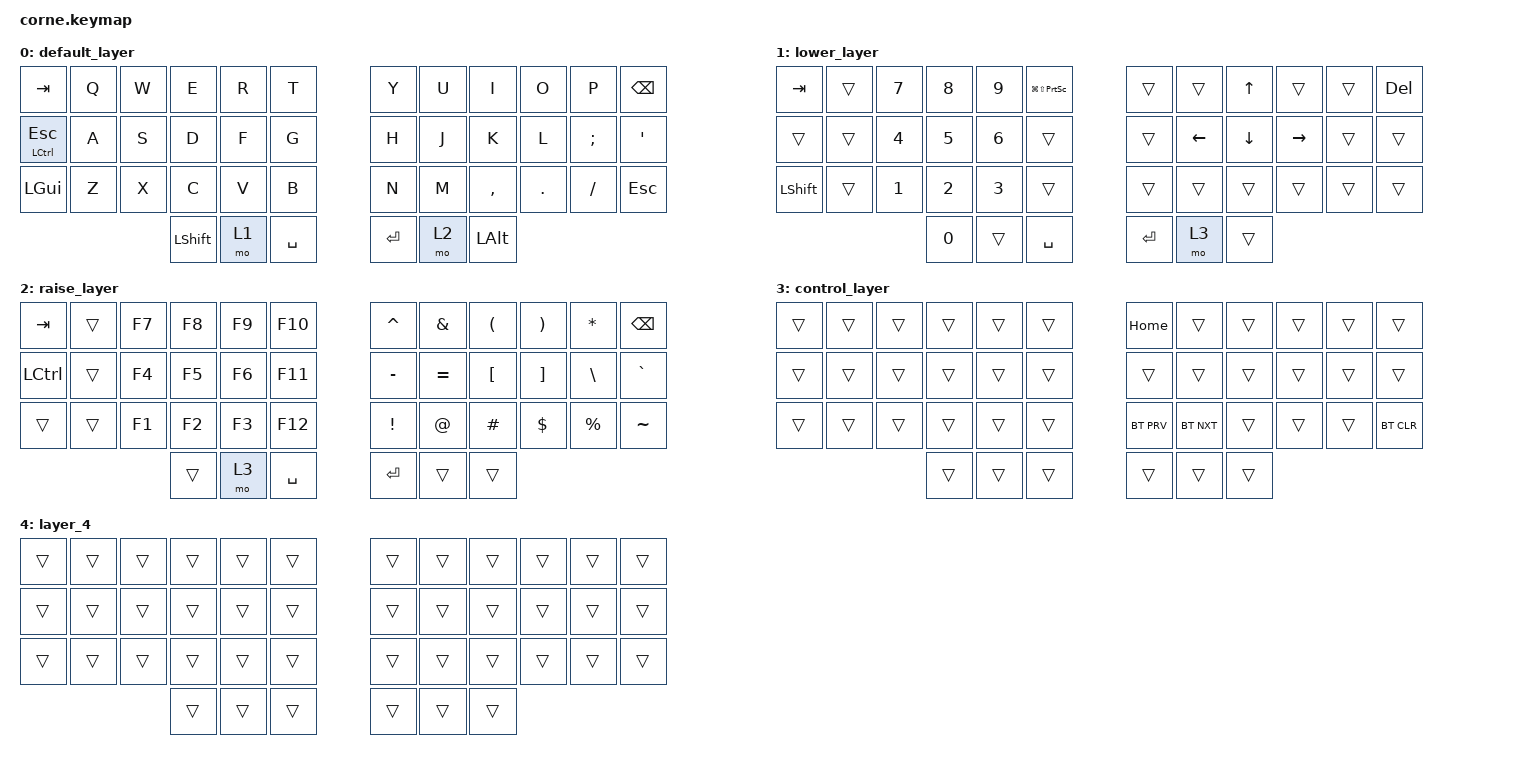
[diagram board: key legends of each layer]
/*
 * Copyright (c) 2020 The ZMK Contributors
 *
 * SPDX-License-Identifier: MIT
 */

#include <behaviors.dtsi>
#include <dt-bindings/zmk/bt.h>
#include <dt-bindings/zmk/keys.h>

/ {
    keymap {
        compatible = "zmk,keymap";

        default_layer {
            // -----------------------------------------------------------------------------------------
            // |  TAB |  Q  |  W  |  E  |  R  |  T  |   |  Y  |  U   |  I  |  O  |  P  | BKSP |
            // | CTRL |  A  |  S  |  D  |  F  |  G  |   |  H  |  J   |  K  |  L  |  ;  |  '   |
            // | SHFT |  Z  |  X  |  C  |  V  |  B  |   |  N  |  M   |  ,  |  .  |  /  | ESC  |
            //                    | GUI | LWR | SPC |   | ENT | RSE  | ALT |

            bindings = <
&kp TAB           &kp Q  &kp W  &kp E      &kp R  &kp T        &kp Y    &kp U  &kp I         &kp O    &kp P          &kp BSPC
&mt LCTRL ESCAPE  &kp A  &kp S  &kp D      &kp F  &kp G        &kp H    &kp J  &kp K         &kp L    &kp SEMICOLON  &kp SQT
&kp LEFT_GUI      &kp Z  &kp X  &kp C      &kp V  &kp B        &kp N    &kp M  &kp COMMA     &kp DOT  &kp FSLH       &kp ESCAPE
                                &kp LSHFT  &mo 1  &kp SPACE    &kp RET  &mo 2  &kp LEFT_ALT
            >;
        };

        lower_layer {
            // -----------------------------------------------------------------------------------------
            // |  TAB |  1  |  2  |  3  |  4  |  5  |   |  6  |  7  |  8  |  9  |  0  | BKSP |
            // | BTCLR| BT1 | BT2 | BT3 | BT4 | BT5 |   | LFT | DWN |  UP | RGT |     |      |
            // | SHFT |     |     |     |     |     |   |     |     |     |     |     |      |
            //                    | GUI |     | SPC |   | ENT |     | ALT |

            bindings = <
&kp TAB    &trans  &kp N7        &kp N8        &kp N9        &kp LG(LS(PRINTSCREEN))    &trans   &trans    &kp UP    &trans     &trans  &kp DELETE
&trans     &trans  &kp NUMBER_4  &kp N5        &kp NUMBER_6  &trans                     &trans   &kp LEFT  &kp DOWN  &kp RIGHT  &trans  &trans
&kp LSHFT  &trans  &kp NUMBER_1  &kp NUMBER_2  &kp NUMBER_3  &trans                     &trans   &trans    &trans    &trans     &trans  &trans
                                 &kp N0        &trans        &kp SPACE                  &kp RET  &mo 3     &trans
            >;
        };

        raise_layer {
            // -----------------------------------------------------------------------------------------
            // |  TAB |  !  |  @  |  #  |  $  |  %  |   |  ^  |  &  |  *  |  (  |  )  | BKSP |
            // | CTRL |     |     |     |     |     |   |  -  |  =  |  [  |  ]  |  \  |  `   |
            // | SHFT |     |     |     |     |     |   |  _  |  +  |  {  |  }  | "|" |  ~   |
            //                    | GUI |     | SPC |   | ENT |     | ALT |

            bindings = <
&kp TAB    &trans  &kp F7  &kp F8  &kp F9  &kp F10      &kp CARET        &kp AMPS     &kp LEFT_PARENTHESIS  &kp RIGHT_PARENTHESIS  &kp ASTERISK  &kp BSPC
&kp LCTRL  &trans  &kp F4  &kp F5  &kp F6  &kp F11      &kp MINUS        &kp EQUAL    &kp LBKT              &kp RBKT               &kp BSLH      &kp GRAVE
&trans     &trans  &kp F1  &kp F2  &kp F3  &kp F12      &kp EXCLAMATION  &kp AT_SIGN  &kp HASH              &kp DOLLAR             &kp PERCENT   &kp TILDE
                           &trans  &mo 3   &kp SPACE    &kp RET          &trans       &trans
            >;
        };

        control_layer {
            bindings = <
&trans  &trans  &trans  &trans  &trans  &trans    &kp HOME    &trans      &trans  &trans  &trans  &trans
&trans  &trans  &trans  &trans  &trans  &trans    &trans      &trans      &trans  &trans  &trans  &trans
&trans  &trans  &trans  &trans  &trans  &trans    &bt BT_PRV  &bt BT_NXT  &trans  &trans  &trans  &bt BT_CLR
                        &trans  &trans  &trans    &trans      &trans      &trans
            >;
        };

        layer_4 {
            bindings = <
&trans  &trans  &trans  &trans  &trans  &trans    &trans  &trans  &trans  &trans  &trans  &trans
&trans  &trans  &trans  &trans  &trans  &trans    &trans  &trans  &trans  &trans  &trans  &trans
&trans  &trans  &trans  &trans  &trans  &trans    &trans  &trans  &trans  &trans  &trans  &trans
                        &trans  &trans  &trans    &trans  &trans  &trans
            >;
        };
    };
};
